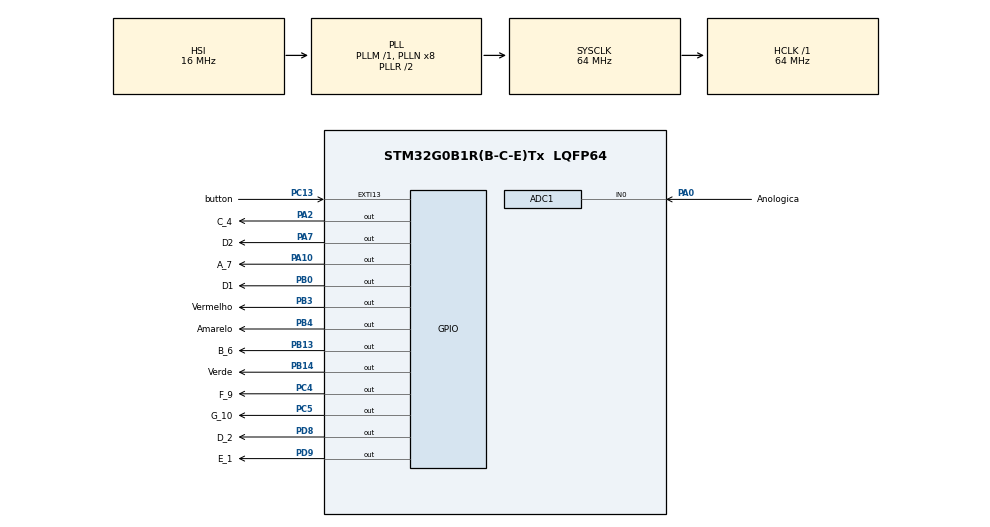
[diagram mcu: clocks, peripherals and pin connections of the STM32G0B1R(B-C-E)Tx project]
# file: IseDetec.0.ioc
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ADC1.Channel-0\#ChannelRegularConversion=ADC_CHANNEL_0
ADC1.ContinuousConvMode=ENABLE
ADC1.NbrOfConversionFlag=1
ADC1.Rank-0\#ChannelRegularConversion=1
ADC1.SamplingTime-0\#ChannelRegularConversion=ADC_SAMPLINGTIME_COMMON_1
ADC1.SamplingTimeCommon1=ADC_SAMPLETIME_79CYCLES_5
ADC1.SamplingTimeCommon2=ADC_SAMPLETIME_79CYCLES_5
ADC1.SelectedChannel=ADC_CHANNEL_0
ADC1.master=1
Dma.ADC1.0.Direction=DMA_PERIPH_TO_MEMORY
Dma.ADC1.0.EventEnable=DISABLE
Dma.ADC1.0.Instance=DMA1_Channel1
Dma.ADC1.0.MemDataAlignment=DMA_MDATAALIGN_WORD
Dma.ADC1.0.MemInc=DMA_MINC_ENABLE
Dma.ADC1.0.Mode=DMA_CIRCULAR
Dma.ADC1.0.PeriphDataAlignment=DMA_PDATAALIGN_WORD
Dma.ADC1.0.PeriphInc=DMA_PINC_DISABLE
Dma.ADC1.0.Polarity=HAL_DMAMUX_REQ_GEN_RISING
Dma.ADC1.0.Priority=DMA_PRIORITY_LOW
Dma.ADC1.0.RequestNumber=1
Dma.ADC1.0.SignalID=NONE
Dma.ADC1.0.SyncEnable=DISABLE
Dma.ADC1.0.SyncPolarity=HAL_DMAMUX_SYNC_NO_EVENT
Dma.ADC1.0.SyncRequestNumber=1
Dma.ADC1.0.SyncSignalID=NONE
Dma.Request0=ADC1
Mcu.Family=STM32G0
Mcu.Name=STM32G0B1R(B-C-E)Tx
Mcu.Package=LQFP64
NVIC.DMA1_Channel1_IRQn=true\:0\:0\:false\:false\:true\:false\:true
NVIC.EXTI4_15_IRQn=true\:0\:0\:false\:false\:true\:true\:true
PA0.GPIO_Label=Anologica
PA0.Mode=IN0
PA0.Signal=ADC1_IN0
PA10.GPIO_Label=A_7
PA10.Signal=GPIO_Output
PA13.Mode=Serial_Wire
PA13.Signal=SYS_SWDIO
PA14-BOOT0.Mode=Serial_Wire
PA14-BOOT0.Signal=SYS_SWCLK
PA2.GPIO_Label=C_4
PA2.Signal=GPIO_Output
PA7.GPIO_Label=D2
PA7.Signal=GPIO_Output
PB0.GPIO_Label=D1
PB0.Signal=GPIO_Output
PB13.GPIO_Label=B_6
PB13.Signal=GPIO_Output
PB14.GPIO_Label=Verde
PB14.Signal=GPIO_Output
PB3.GPIO_Label=Vermelho
PB3.Signal=GPIO_Output
PB4.GPIO_Label=Amarelo
PB4.Signal=GPIO_Output
PC13.GPIO_Label=button
PC13.Signal=GPXTI13
PC4.GPIO_Label=F_9
PC4.Signal=GPIO_Output
PC5.GPIO_Label=G_10
PC5.Signal=GPIO_Output
PD8.GPIO_Label=D_2
PD8.Signal=GPIO_Output
PD9.GPIO_Label=E_1
PD9.Signal=GPIO_Output
ProjectManager.HeapSize=0x200
ProjectManager.StackSize=0x400
ProjectManager.TargetToolchain=STM32CubeIDE
RCC.ADCFreq_Value=64000000
RCC.AHBFreq_Value=64000000
RCC.CortexFreq_Value=64000000
RCC.EXTERNAL_CLOCK_VALUE=48000
RCC.HCLKFreq_Value=64000000
RCC.HSE_VALUE=8000000
RCC.HSI48_VALUE=48000000
RCC.HSI_VALUE=16000000
RCC.LSE_VALUE=32768
RCC.SYSCLKFreq_VALUE=64000000
RCC.SYSCLKSource=RCC_SYSCLKSOURCE_PLLCLK
RCC.USBFreq_Value=48000000
RCC.VCOOutputFreq_Value=128000000
VP_SYS_VS_DBSignals.Mode=DisableDeadBatterySignals
board=custom

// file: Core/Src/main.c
/* USER CODE BEGIN Header */
/**
  ******************************************************************************
  * @file           : main.c
  * @brief          : Main program body
  ******************************************************************************
  * @attention
  *
  * Copyright (c) 2022 STMicroelectronics.
  * All rights reserved.
  *
  * This software is licensed under terms that can be found in the LICENSE file
  * in the root directory of this software component.
  * If no LICENSE file comes with this software, it is provided AS-IS.
  *
  ******************************************************************************
  */
/* USER CODE END Header */
#include "main.h"

/* USER CODE BEGIN PTD */
#include <stdint.h>
/* USER CODE END PTD */

ADC_HandleTypeDef hadc1;
DMA_HandleTypeDef hdma_adc1;

void SystemClock_Config(void);
static void MX_GPIO_Init(void);
static void MX_DMA_Init(void);
static void MX_ADC1_Init(void);

/* USER CODE BEGIN 0 */
uint32_t e_analogica [50];
float tensao;
uint32_t media;
uint8_t controle = 1;
/* USER CODE END 0 */

int main(void)
{

  /* MCU Configuration--------------------------------------------------------*/

  /* Reset of all peripherals, Initializes the Flash interface and the Systick. */
  HAL_Init();

  /* Configure the system clock */
  SystemClock_Config();

  /* Initialize all configured peripherals */
  MX_GPIO_Init();
  MX_DMA_Init();
  MX_ADC1_Init();
  /* USER CODE BEGIN 2 */
  HAL_ADC_Start_DMA(&hadc1, (uint32_t *)e_analogica, 50);

  /* USER CODE END 2 */

  /* Infinite loop */
  /* USER CODE BEGIN WHILE */
  HAL_ADCEx_Calibration_Start(&hadc1);

  while (1)
  {
	  HAL_ADC_Start_DMA(&hadc1, (uint32_t *)e_analogica, 50);
	  HAL_DMA_PollForTransfer(&hdma_adc1, HAL_DMA_FULL_TRANSFER, 1000);

	  media = 0;

	  for(int i=0; i<50; i++){
		  media = media + e_analogica[i];
	  }

	  media = media/50;

	  tensao = media * (5.0/ 4095);

	  if(media > 3045){    //verde
		  if(controle == 2){
			  controle = 1;
		  } else if(controle == 3){
			  controle = 2;
		  }

	  } else if(media < 3045 && media > 3000){  //amarelo
		  controle = 2;

	  } else if(media < 3000){   //vermelho
		  if(controle == 2){
			  controle = 3;

		  } else if(controle == 1){
			  controle = 2;
		  }
	  }

	  switch(controle){
	  case 1:
		  HAL_GPIO_WritePin(Verde_GPIO_Port, Verde_Pin, 0);
		  HAL_GPIO_WritePin(Amarelo_GPIO_Port, Amarelo_Pin, 1);
		  HAL_GPIO_WritePin(Vermelho_GPIO_Port, Vermelho_Pin, 1);

		  HAL_GPIO_WritePin(D2_GPIO_Port, D2_Pin, 1);

		  HAL_GPIO_WritePin(E_1_GPIO_Port, E_1_Pin, 0);
		  HAL_GPIO_WritePin(D_2_GPIO_Port, D_2_Pin, 0);
		  HAL_GPIO_WritePin(C_4_GPIO_Port, C_4_Pin, 1);
		  HAL_GPIO_WritePin(B_6_GPIO_Port, B_6_Pin, 1);
		  HAL_GPIO_WritePin(A_7_GPIO_Port, A_7_Pin, 0);
		  HAL_GPIO_WritePin(F_9_GPIO_Port, F_9_Pin, 0);
		  HAL_GPIO_WritePin(G_10_GPIO_Port, G_10_Pin, 0);

	  break;

	  case 2:
		  HAL_GPIO_WritePin(Verde_GPIO_Port, Verde_Pin, 1);
		  HAL_GPIO_WritePin(Amarelo_GPIO_Port, Amarelo_Pin, 0);
		  HAL_GPIO_WritePin(Vermelho_GPIO_Port, Vermelho_Pin, 1);

		  HAL_GPIO_WritePin(D2_GPIO_Port, D2_Pin, 1);

		  HAL_GPIO_WritePin(E_1_GPIO_Port, E_1_Pin, 1);
		  HAL_GPIO_WritePin(D_2_GPIO_Port, D_2_Pin, 1);
		  HAL_GPIO_WritePin(C_4_GPIO_Port, C_4_Pin, 0);
		  HAL_GPIO_WritePin(B_6_GPIO_Port, B_6_Pin, 1);
		  HAL_GPIO_WritePin(A_7_GPIO_Port, A_7_Pin, 1);
		  HAL_GPIO_WritePin(F_9_GPIO_Port, F_9_Pin, 0);
		  HAL_GPIO_WritePin(G_10_GPIO_Port, G_10_Pin, 1);

	  break;

	  default:
		  HAL_GPIO_WritePin(Verde_GPIO_Port, Verde_Pin, 1);
		  HAL_GPIO_WritePin(Amarelo_GPIO_Port, Amarelo_Pin, 1);
		  HAL_GPIO_WritePin(Vermelho_GPIO_Port, Vermelho_Pin, 0);

		  HAL_GPIO_WritePin(D2_GPIO_Port, D2_Pin, 1);

		  HAL_GPIO_WritePin(E_1_GPIO_Port, E_1_Pin, 0);
		  HAL_GPIO_WritePin(D_2_GPIO_Port, D_2_Pin, 1);
		  HAL_GPIO_WritePin(C_4_GPIO_Port, C_4_Pin, 1);
		  HAL_GPIO_WritePin(B_6_GPIO_Port, B_6_Pin, 1);
		  HAL_GPIO_WritePin(A_7_GPIO_Port, A_7_Pin, 1);
		  HAL_GPIO_WritePin(F_9_GPIO_Port, F_9_Pin, 0);
		  HAL_GPIO_WritePin(G_10_GPIO_Port, G_10_Pin, 1);

	  break;
	  }

    /* USER CODE END WHILE */

  }
}

void SystemClock_Config(void)
{
  RCC_OscInitTypeDef RCC_OscInitStruct = {0};
  RCC_ClkInitTypeDef RCC_ClkInitStruct = {0};

  /** Configure the main internal regulator output voltage
  */
  HAL_PWREx_ControlVoltageScaling(PWR_REGULATOR_VOLTAGE_SCALE1);
  /** Initializes the RCC Oscillators according to the specified parameters
  * in the RCC_OscInitTypeDef structure.
  */
  RCC_OscInitStruct.OscillatorType = RCC_OSCILLATORTYPE_HSI;
  RCC_OscInitStruct.HSIState = RCC_HSI_ON;
  RCC_OscInitStruct.HSIDiv = RCC_HSI_DIV1;
  RCC_OscInitStruct.HSICalibrationValue = RCC_HSICALIBRATION_DEFAULT;
  RCC_OscInitStruct.PLL.PLLState = RCC_PLL_ON;
  RCC_OscInitStruct.PLL.PLLSource = RCC_PLLSOURCE_HSI;
  RCC_OscInitStruct.PLL.PLLM = RCC_PLLM_DIV1;
  RCC_OscInitStruct.PLL.PLLN = 8;
  RCC_OscInitStruct.PLL.PLLP = RCC_PLLP_DIV2;
  RCC_OscInitStruct.PLL.PLLQ = RCC_PLLQ_DIV2;
  RCC_OscInitStruct.PLL.PLLR = RCC_PLLR_DIV2;
  if (HAL_RCC_OscConfig(&RCC_OscInitStruct) != HAL_OK)
  {
    Error_Handler();
  }
  /** Initializes the CPU, AHB and APB buses clocks
  */
  RCC_ClkInitStruct.ClockType = RCC_CLOCKTYPE_HCLK|RCC_CLOCKTYPE_SYSCLK
                              |RCC_CLOCKTYPE_PCLK1;
  RCC_ClkInitStruct.SYSCLKSource = RCC_SYSCLKSOURCE_PLLCLK;
  RCC_ClkInitStruct.AHBCLKDivider = RCC_SYSCLK_DIV1;
  RCC_ClkInitStruct.APB1CLKDivider = RCC_HCLK_DIV1;

  if (HAL_RCC_ClockConfig(&RCC_ClkInitStruct, FLASH_LATENCY_2) != HAL_OK)
  {
    Error_Handler();
  }
}

static void MX_ADC1_Init(void)
{

  ADC_ChannelConfTypeDef sConfig = {0};

  /** Configure the global features of the ADC (Clock, Resolution, Data Alignment and number of conversion)
  */
  hadc1.Instance = ADC1;
  hadc1.Init.ClockPrescaler = ADC_CLOCK_SYNC_PCLK_DIV2;
  hadc1.Init.Resolution = ADC_RESOLUTION_12B;
  hadc1.Init.DataAlign = ADC_DATAALIGN_RIGHT;
  hadc1.Init.ScanConvMode = ADC_SCAN_DISABLE;
  hadc1.Init.EOCSelection = ADC_EOC_SINGLE_CONV;
  hadc1.Init.LowPowerAutoWait = DISABLE;
  hadc1.Init.LowPowerAutoPowerOff = DISABLE;
  hadc1.Init.ContinuousConvMode = ENABLE;
  hadc1.Init.NbrOfConversion = 1;
  hadc1.Init.DiscontinuousConvMode = DISABLE;
  hadc1.Init.ExternalTrigConv = ADC_SOFTWARE_START;
  hadc1.Init.ExternalTrigConvEdge = ADC_EXTERNALTRIGCONVEDGE_NONE;
  hadc1.Init.DMAContinuousRequests = DISABLE;
  hadc1.Init.Overrun = ADC_OVR_DATA_PRESERVED;
  hadc1.Init.SamplingTimeCommon1 = ADC_SAMPLETIME_79CYCLES_5;
  hadc1.Init.SamplingTimeCommon2 = ADC_SAMPLETIME_79CYCLES_5;
  hadc1.Init.OversamplingMode = DISABLE;
  hadc1.Init.TriggerFrequencyMode = ADC_TRIGGER_FREQ_HIGH;
  if (HAL_ADC_Init(&hadc1) != HAL_OK)
  {
    Error_Handler();
  }
  /** Configure Regular Channel
  */
  sConfig.Channel = ADC_CHANNEL_0;
  sConfig.Rank = ADC_REGULAR_RANK_1;
  sConfig.SamplingTime = ADC_SAMPLINGTIME_COMMON_1;
  if (HAL_ADC_ConfigChannel(&hadc1, &sConfig) != HAL_OK)
  {
    Error_Handler();
  }

}

static void MX_DMA_Init(void)
{

  /* DMA controller clock enable */
  __HAL_RCC_DMA1_CLK_ENABLE();

  /* DMA interrupt init */
  /* DMA1_Channel1_IRQn interrupt configuration */
  HAL_NVIC_SetPriority(DMA1_Channel1_IRQn, 0, 0);
  HAL_NVIC_EnableIRQ(DMA1_Channel1_IRQn);

}

static void MX_GPIO_Init(void)
{
  GPIO_InitTypeDef GPIO_InitStruct = {0};

  /* GPIO Ports Clock Enable */
  __HAL_RCC_GPIOC_CLK_ENABLE();
  __HAL_RCC_GPIOA_CLK_ENABLE();
  __HAL_RCC_GPIOB_CLK_ENABLE();
  __HAL_RCC_GPIOD_CLK_ENABLE();

  /*Configure GPIO pin Output Level */
  HAL_GPIO_WritePin(GPIOA, C_4_Pin|D2_Pin|A_7_Pin, GPIO_PIN_RESET);

  /*Configure GPIO pin Output Level */
  HAL_GPIO_WritePin(GPIOC, F_9_Pin|G_10_Pin, GPIO_PIN_RESET);

  /*Configure GPIO pin Output Level */
  HAL_GPIO_WritePin(GPIOB, D1_Pin|B_6_Pin|Verde_Pin|Vermelho_Pin
                          |Amarelo_Pin, GPIO_PIN_RESET);

  /*Configure GPIO pin Output Level */
  HAL_GPIO_WritePin(GPIOD, D_2_Pin|E_1_Pin, GPIO_PIN_RESET);

  /*Configure GPIO pin : button_Pin */
  GPIO_InitStruct.Pin = button_Pin;
  GPIO_InitStruct.Mode = GPIO_MODE_IT_RISING;
  GPIO_InitStruct.Pull = GPIO_NOPULL;
  HAL_GPIO_Init(button_GPIO_Port, &GPIO_InitStruct);

  /*Configure GPIO pins : C_4_Pin D2_Pin A_7_Pin */
  GPIO_InitStruct.Pin = C_4_Pin|D2_Pin|A_7_Pin;
  GPIO_InitStruct.Mode = GPIO_MODE_OUTPUT_PP;
  GPIO_InitStruct.Pull = GPIO_NOPULL;
  GPIO_InitStruct.Speed = GPIO_SPEED_FREQ_LOW;
  HAL_GPIO_Init(GPIOA, &GPIO_InitStruct);

  /*Configure GPIO pins : F_9_Pin G_10_Pin */
  GPIO_InitStruct.Pin = F_9_Pin|G_10_Pin;
  GPIO_InitStruct.Mode = GPIO_MODE_OUTPUT_PP;
  GPIO_InitStruct.Pull = GPIO_NOPULL;
  GPIO_InitStruct.Speed = GPIO_SPEED_FREQ_LOW;
  HAL_GPIO_Init(GPIOC, &GPIO_InitStruct);

  /*Configure GPIO pins : D1_Pin B_6_Pin Verde_Pin Vermelho_Pin
                           Amarelo_Pin */
  GPIO_InitStruct.Pin = D1_Pin|B_6_Pin|Verde_Pin|Vermelho_Pin
                          |Amarelo_Pin;
  GPIO_InitStruct.Mode = GPIO_MODE_OUTPUT_PP;
  GPIO_InitStruct.Pull = GPIO_NOPULL;
  GPIO_InitStruct.Speed = GPIO_SPEED_FREQ_LOW;
  HAL_GPIO_Init(GPIOB, &GPIO_InitStruct);

  /*Configure GPIO pins : D_2_Pin E_1_Pin */
  GPIO_InitStruct.Pin = D_2_Pin|E_1_Pin;
  GPIO_InitStruct.Mode = GPIO_MODE_OUTPUT_PP;
  GPIO_InitStruct.Pull = GPIO_NOPULL;
  GPIO_InitStruct.Speed = GPIO_SPEED_FREQ_LOW;
  HAL_GPIO_Init(GPIOD, &GPIO_InitStruct);

  /* EXTI interrupt init*/
  HAL_NVIC_SetPriority(EXTI4_15_IRQn, 0, 0);
  HAL_NVIC_EnableIRQ(EXTI4_15_IRQn);

}

void Error_Handler(void)
{
  __disable_irq();
  while (1)
  {
  }
}
